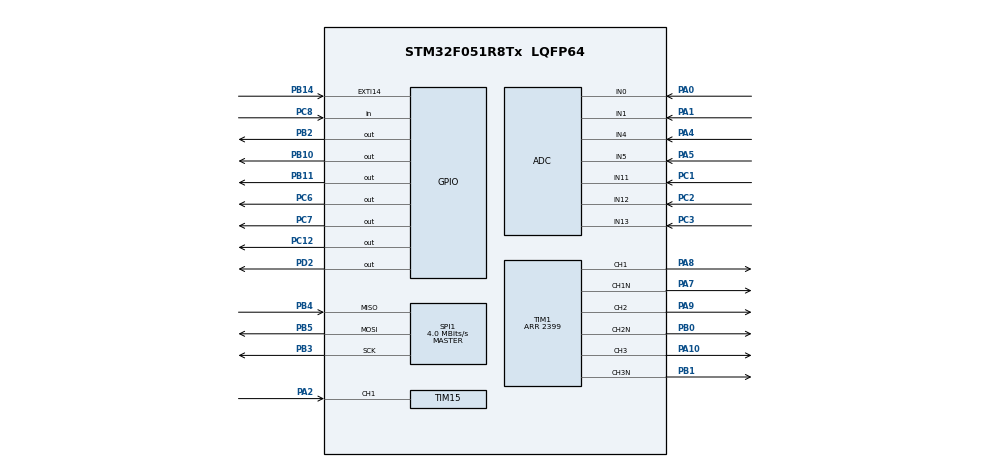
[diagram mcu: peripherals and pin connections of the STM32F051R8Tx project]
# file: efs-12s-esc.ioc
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ADC.ContinuousConvMode=ENABLE
ADC.DMAContinuousRequests=ENABLE
ADC.DiscontinuousConvMode=DISABLE
ADC.ExternalTrigConv=ADC_EXTERNALTRIGCONV_T1_TRGO
ADC.SamplingTime=ADC_SAMPLETIME_1CYCLE_5
ADC.ScanConvMode=ADC_SCAN_DIRECTION_FORWARD
Dma.ADC.0.Direction=DMA_PERIPH_TO_MEMORY
Dma.ADC.0.Instance=DMA1_Channel1
Dma.ADC.0.MemDataAlignment=DMA_MDATAALIGN_HALFWORD
Dma.ADC.0.MemInc=DMA_MINC_ENABLE
Dma.ADC.0.Mode=DMA_CIRCULAR
Dma.ADC.0.PeriphDataAlignment=DMA_PDATAALIGN_HALFWORD
Dma.ADC.0.PeriphInc=DMA_PINC_DISABLE
Dma.ADC.0.Priority=DMA_PRIORITY_LOW
Dma.Request0=ADC
Mcu.Family=STM32F0
Mcu.Name=STM32F051R8Tx
Mcu.Package=LQFP64
NVIC.DMA1_Channel1_IRQn=true\:0\:0\:false\:false\:true\:false\:true\:true
NVIC.TIM15_IRQn=true\:0\:0\:false\:false\:true\:true\:true\:true
PA0.Mode=IN0
PA0.Signal=ADC_IN0
PA1.Mode=IN1
PA1.Signal=ADC_IN1
PA10.Signal=S_TIM1_CH3
PA15.Signal=SPI1_NSS
PA2.Signal=S_TIM15_CH1
PA3.Signal=S_TIM15_CH2
PA4.Mode=IN4
PA4.Signal=ADC_IN4
PA5.Mode=IN5
PA5.Signal=ADC_IN5
PA7.Mode=PWM Generation1 CH1 CH1N
PA7.Signal=TIM1_CH1N
PA8.Signal=S_TIM1_CH1
PA9.Signal=S_TIM1_CH2
PB0.Mode=PWM Generation2 CH2 CH2N
PB0.Signal=TIM1_CH2N
PB1.Mode=PWM Generation3 CH3 CH3N
PB1.Signal=TIM1_CH3N
PB10.Signal=GPIO_Output
PB11.Signal=GPIO_Output
PB14.Signal=GPXTI14
PB2.Signal=GPIO_Output
PB3.Mode=Full_Duplex_Master
PB3.Signal=SPI1_SCK
PB4.Mode=Full_Duplex_Master
PB4.Signal=SPI1_MISO
PB5.Mode=Full_Duplex_Master
PB5.Signal=SPI1_MOSI
PB6.Signal=USART1_TX
PB7.Signal=USART1_RX
PC1.Mode=IN11
PC1.Signal=ADC_IN11
PC12.Signal=GPIO_Output
PC2.Mode=IN12
PC2.Signal=ADC_IN12
PC3.Mode=IN13
PC3.Signal=ADC_IN13
PC6.Signal=GPIO_Output
PC7.Signal=GPIO_Output
PC8.Signal=GPIO_Input
PD2.Signal=GPIO_Output
ProjectManager.HeapSize=0x200
ProjectManager.StackSize=0x400
ProjectManager.TargetToolchain=STM32CubeIDE
SH.S_TIM15_CH1.0=TIM15_CH1,Input_Capture1_from_TI1
SH.S_TIM15_CH2.0=TIM15_CH2
SH.S_TIM1_CH1.0=TIM1_CH1,PWM Generation1 CH1 CH1N
SH.S_TIM1_CH2.0=TIM1_CH2,PWM Generation2 CH2 CH2N
SH.S_TIM1_CH3.0=TIM1_CH3,PWM Generation3 CH3 CH3N
SPI1.CalculateBaudRate=4.0 MBits/s
SPI1.DataSize=SPI_DATASIZE_8BIT
SPI1.Direction=SPI_DIRECTION_2LINES
SPI1.Mode=SPI_MODE_MASTER
SPI1.VirtualType=VM_MASTER
TIM1.Channel-PWM\ Generation1\ CH1\ CH1N=TIM_CHANNEL_1
TIM1.Channel-PWM\ Generation2\ CH2\ CH2N=TIM_CHANNEL_2
TIM1.Channel-PWM\ Generation3\ CH3\ CH3N=TIM_CHANNEL_3
TIM1.CounterMode=TIM_COUNTERMODE_CENTERALIGNED1
TIM1.DeadTime=36
TIM1.Period=2399
TIM15.Channel-Input_Capture1_from_TI1=TIM_CHANNEL_1
TIM15.ICPolarity_CH1=TIM_INPUTCHANNELPOLARITY_BOTHEDGE
VP_TIM15_VS_ClockSourceINT.Mode=Internal
board=custom

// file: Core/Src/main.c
/* USER CODE BEGIN Header */
/**
  ******************************************************************************
  * @file           : main.c
  * @brief          : Main program body
  ******************************************************************************
  * @attention
  *
  * Copyright (c) 2025 STMicroelectronics.
  * All rights reserved.
  *
  * This software is licensed under terms that can be found in the LICENSE file
  * in the root directory of this software component.
  * If no LICENSE file comes with this software, it is provided AS-IS.
  *
  ******************************************************************************
  */
/* USER CODE END Header */
#include "main.h"

/* USER CODE BEGIN Includes */
#include "pwm_driver.h"
#include "drv_spi.h"
#include "safety.h"
#include "dshot.h"
#include "commutation.h"

/* USER CODE END Includes */

ADC_HandleTypeDef hadc;
DMA_HandleTypeDef hdma_adc;

SPI_HandleTypeDef hspi1;

TIM_HandleTypeDef htim1;
TIM_HandleTypeDef htim15;

/* USER CODE BEGIN PV */
volatile uint16_t adc_dma_buf[ADC_NUM_CHANNELS];
static esc_state_t esc_state = ESC_DISARMED;
static uint16_t target_throttle = 0;

/* USER CODE END PV */

void SystemClock_Config(void);
static void MX_GPIO_Init(void);
static void MX_DMA_Init(void);
static void MX_ADC_Init(void);
static void MX_TIM1_Init(void);
static void MX_SPI1_Init(void);
static void MX_TIM15_Init(void);

int main(void)
{

  /* MCU Configuration--------------------------------------------------------*/

  /* Reset of all peripherals, Initializes the Flash interface and the Systick. */
  HAL_Init();

  /* Configure the system clock */
  SystemClock_Config();

  /* Initialize all configured peripherals */
  MX_GPIO_Init();
  MX_DMA_Init();
  MX_ADC_Init();
  MX_TIM1_Init();
  MX_SPI1_Init();
  MX_TIM15_Init();
  /* USER CODE BEGIN 2 */
  pwm_all_off();
  drv_spi_clear_fault();   // gate driver EN low

  dshot_init();

  /* Start DSHOT capture */
  HAL_TIM_IC_Start_IT(&htim15, TIM_CHANNEL_1);

  /* Start PWM timers (outputs still off) */
  HAL_TIM_PWM_Start(&htim1, TIM_CHANNEL_1);
  HAL_TIM_PWM_Start(&htim1, TIM_CHANNEL_2);
  HAL_TIM_PWM_Start(&htim1, TIM_CHANNEL_3);
  HAL_TIMEx_PWMN_Start(&htim1, TIM_CHANNEL_1);
  HAL_TIMEx_PWMN_Start(&htim1, TIM_CHANNEL_2);
  HAL_TIMEx_PWMN_Start(&htim1, TIM_CHANNEL_3);

  /* USER CODE END 2 */

  /* Infinite loop */
  /* USER CODE BEGIN WHILE */

  HAL_ADC_Start_DMA(&hadc, (uint32_t*)adc_dma_buf, ADC_NUM_CHANNELS);
  dshot_frame_t frame;
  while (1)
  {
    /* --- Handle DSHOT input --- */

    if (dshot_get_frame(&frame)) {

        if (!frame.valid) {
            target_throttle = 0;
            esc_state = ESC_DISARMED;
            continue;
        }

        target_throttle = frame.throttle;

        if (target_throttle == 0) {
            esc_state = ESC_DISARMED;
        } else if (esc_state == ESC_DISARMED) {
            esc_state = ESC_ARMING;
        }
    }

    /* --- ESC state machine --- */
    switch (esc_state) {

    case ESC_DISARMED:
        pwm_all_off();
        drv_enable(false);
        commutation_reset();
        break;

    case ESC_ARMING:
        if (drv_configure()) {
            commutation_start();
            esc_state = ESC_RUNNING;
        } else {
            esc_state = ESC_FAULT;
        }
        break;

    case ESC_RUNNING:
        commutation_set_throttle(target_throttle);
        break;

    case ESC_FAULT:
        pwm_all_off();
        drv_enable(false);
        if (drv_spi_read_fault() == 0) {
            esc_state = ESC_DISARMED;
        }
        break;
    }
    /* USER CODE END WHILE */

  }
}

void SystemClock_Config(void)
{
  RCC_OscInitTypeDef RCC_OscInitStruct = {0};
  RCC_ClkInitTypeDef RCC_ClkInitStruct = {0};

  /** Initializes the RCC Oscillators according to the specified parameters
  * in the RCC_OscInitTypeDef structure.
  */
  RCC_OscInitStruct.OscillatorType = RCC_OSCILLATORTYPE_HSI|RCC_OSCILLATORTYPE_HSI14;
  RCC_OscInitStruct.HSIState = RCC_HSI_ON;
  RCC_OscInitStruct.HSI14State = RCC_HSI14_ON;
  RCC_OscInitStruct.HSICalibrationValue = RCC_HSICALIBRATION_DEFAULT;
  RCC_OscInitStruct.HSI14CalibrationValue = 16;
  RCC_OscInitStruct.PLL.PLLState = RCC_PLL_NONE;
  if (HAL_RCC_OscConfig(&RCC_OscInitStruct) != HAL_OK)
  {
    Error_Handler();
  }

  /** Initializes the CPU, AHB and APB buses clocks
  */
  RCC_ClkInitStruct.ClockType = RCC_CLOCKTYPE_HCLK|RCC_CLOCKTYPE_SYSCLK
                              |RCC_CLOCKTYPE_PCLK1;
  RCC_ClkInitStruct.SYSCLKSource = RCC_SYSCLKSOURCE_HSI;
  RCC_ClkInitStruct.AHBCLKDivider = RCC_SYSCLK_DIV1;
  RCC_ClkInitStruct.APB1CLKDivider = RCC_HCLK_DIV1;

  if (HAL_RCC_ClockConfig(&RCC_ClkInitStruct, FLASH_LATENCY_0) != HAL_OK)
  {
    Error_Handler();
  }
}

static void MX_ADC_Init(void)
{

  ADC_ChannelConfTypeDef sConfig = {0};

  /** Configure the global features of the ADC (Clock, Resolution, Data Alignment and number of conversion)
  */
  hadc.Instance = ADC1;
  hadc.Init.ClockPrescaler = ADC_CLOCK_ASYNC_DIV1;
  hadc.Init.Resolution = ADC_RESOLUTION_12B;
  hadc.Init.DataAlign = ADC_DATAALIGN_RIGHT;
  hadc.Init.ScanConvMode = ADC_SCAN_DIRECTION_FORWARD;
  hadc.Init.EOCSelection = ADC_EOC_SINGLE_CONV;
  hadc.Init.LowPowerAutoWait = DISABLE;
  hadc.Init.LowPowerAutoPowerOff = DISABLE;
  hadc.Init.ContinuousConvMode = ENABLE;
  hadc.Init.DiscontinuousConvMode = DISABLE;
  hadc.Init.ExternalTrigConv = ADC_EXTERNALTRIGCONV_T1_TRGO;
  hadc.Init.ExternalTrigConvEdge = ADC_EXTERNALTRIGCONVEDGE_RISING;
  hadc.Init.DMAContinuousRequests = ENABLE;
  hadc.Init.Overrun = ADC_OVR_DATA_PRESERVED;
  if (HAL_ADC_Init(&hadc) != HAL_OK)
  {
    Error_Handler();
  }

  /** Configure for the selected ADC regular channel to be converted.
  */
  sConfig.Channel = ADC_CHANNEL_0;
  sConfig.Rank = ADC_RANK_CHANNEL_NUMBER;
  sConfig.SamplingTime = ADC_SAMPLETIME_1CYCLE_5;
  if (HAL_ADC_ConfigChannel(&hadc, &sConfig) != HAL_OK)
  {
    Error_Handler();
  }

  /** Configure for the selected ADC regular channel to be converted.
  */
  sConfig.Channel = ADC_CHANNEL_1;
  if (HAL_ADC_ConfigChannel(&hadc, &sConfig) != HAL_OK)
  {
    Error_Handler();
  }

  /** Configure for the selected ADC regular channel to be converted.
  */
  sConfig.Channel = ADC_CHANNEL_4;
  if (HAL_ADC_ConfigChannel(&hadc, &sConfig) != HAL_OK)
  {
    Error_Handler();
  }

  /** Configure for the selected ADC regular channel to be converted.
  */
  sConfig.Channel = ADC_CHANNEL_5;
  if (HAL_ADC_ConfigChannel(&hadc, &sConfig) != HAL_OK)
  {
    Error_Handler();
  }

  /** Configure for the selected ADC regular channel to be converted.
  */
  sConfig.Channel = ADC_CHANNEL_11;
  if (HAL_ADC_ConfigChannel(&hadc, &sConfig) != HAL_OK)
  {
    Error_Handler();
  }

  /** Configure for the selected ADC regular channel to be converted.
  */
  sConfig.Channel = ADC_CHANNEL_12;
  if (HAL_ADC_ConfigChannel(&hadc, &sConfig) != HAL_OK)
  {
    Error_Handler();
  }

  /** Configure for the selected ADC regular channel to be converted.
  */
  sConfig.Channel = ADC_CHANNEL_13;
  if (HAL_ADC_ConfigChannel(&hadc, &sConfig) != HAL_OK)
  {
    Error_Handler();
  }

}

static void MX_SPI1_Init(void)
{

  /* SPI1 parameter configuration*/
  hspi1.Instance = SPI1;
  hspi1.Init.Mode = SPI_MODE_MASTER;
  hspi1.Init.Direction = SPI_DIRECTION_2LINES;
  hspi1.Init.DataSize = SPI_DATASIZE_8BIT;
  hspi1.Init.CLKPolarity = SPI_POLARITY_LOW;
  hspi1.Init.CLKPhase = SPI_PHASE_1EDGE;
  hspi1.Init.NSS = SPI_NSS_SOFT;
  hspi1.Init.BaudRatePrescaler = SPI_BAUDRATEPRESCALER_2;
  hspi1.Init.FirstBit = SPI_FIRSTBIT_MSB;
  hspi1.Init.TIMode = SPI_TIMODE_DISABLE;
  hspi1.Init.CRCCalculation = SPI_CRCCALCULATION_DISABLE;
  hspi1.Init.CRCPolynomial = 7;
  hspi1.Init.CRCLength = SPI_CRC_LENGTH_DATASIZE;
  hspi1.Init.NSSPMode = SPI_NSS_PULSE_ENABLE;
  if (HAL_SPI_Init(&hspi1) != HAL_OK)
  {
    Error_Handler();
  }

}

static void MX_TIM1_Init(void)
{

  TIM_MasterConfigTypeDef sMasterConfig = {0};
  TIM_OC_InitTypeDef sConfigOC = {0};
  TIM_BreakDeadTimeConfigTypeDef sBreakDeadTimeConfig = {0};

  htim1.Instance = TIM1;
  htim1.Init.Prescaler = 0;
  htim1.Init.CounterMode = TIM_COUNTERMODE_CENTERALIGNED1;
  htim1.Init.Period = 2399;
  htim1.Init.ClockDivision = TIM_CLOCKDIVISION_DIV1;
  htim1.Init.RepetitionCounter = 0;
  htim1.Init.AutoReloadPreload = TIM_AUTORELOAD_PRELOAD_DISABLE;
  if (HAL_TIM_PWM_Init(&htim1) != HAL_OK)
  {
    Error_Handler();
  }
  sMasterConfig.MasterOutputTrigger = TIM_TRGO_RESET;
  sMasterConfig.MasterSlaveMode = TIM_MASTERSLAVEMODE_DISABLE;
  if (HAL_TIMEx_MasterConfigSynchronization(&htim1, &sMasterConfig) != HAL_OK)
  {
    Error_Handler();
  }
  sConfigOC.OCMode = TIM_OCMODE_PWM1;
  sConfigOC.Pulse = 0;
  sConfigOC.OCPolarity = TIM_OCPOLARITY_HIGH;
  sConfigOC.OCNPolarity = TIM_OCNPOLARITY_HIGH;
  sConfigOC.OCFastMode = TIM_OCFAST_DISABLE;
  sConfigOC.OCIdleState = TIM_OCIDLESTATE_RESET;
  sConfigOC.OCNIdleState = TIM_OCNIDLESTATE_RESET;
  if (HAL_TIM_PWM_ConfigChannel(&htim1, &sConfigOC, TIM_CHANNEL_1) != HAL_OK)
  {
    Error_Handler();
  }
  if (HAL_TIM_PWM_ConfigChannel(&htim1, &sConfigOC, TIM_CHANNEL_2) != HAL_OK)
  {
    Error_Handler();
  }
  if (HAL_TIM_PWM_ConfigChannel(&htim1, &sConfigOC, TIM_CHANNEL_3) != HAL_OK)
  {
    Error_Handler();
  }
  sBreakDeadTimeConfig.OffStateRunMode = TIM_OSSR_DISABLE;
  sBreakDeadTimeConfig.OffStateIDLEMode = TIM_OSSI_DISABLE;
  sBreakDeadTimeConfig.LockLevel = TIM_LOCKLEVEL_OFF;
  sBreakDeadTimeConfig.DeadTime = 36;
  sBreakDeadTimeConfig.BreakState = TIM_BREAK_DISABLE;
  sBreakDeadTimeConfig.BreakPolarity = TIM_BREAKPOLARITY_HIGH;
  sBreakDeadTimeConfig.AutomaticOutput = TIM_AUTOMATICOUTPUT_DISABLE;
  if (HAL_TIMEx_ConfigBreakDeadTime(&htim1, &sBreakDeadTimeConfig) != HAL_OK)
  {
    Error_Handler();
  }
  HAL_TIM_MspPostInit(&htim1);

}

static void MX_TIM15_Init(void)
{

  TIM_ClockConfigTypeDef sClockSourceConfig = {0};
  TIM_MasterConfigTypeDef sMasterConfig = {0};
  TIM_IC_InitTypeDef sConfigIC = {0};

  htim15.Instance = TIM15;
  htim15.Init.Prescaler = 0;
  htim15.Init.CounterMode = TIM_COUNTERMODE_UP;
  htim15.Init.Period = 65535;
  htim15.Init.ClockDivision = TIM_CLOCKDIVISION_DIV1;
  htim15.Init.RepetitionCounter = 0;
  htim15.Init.AutoReloadPreload = TIM_AUTORELOAD_PRELOAD_DISABLE;
  if (HAL_TIM_Base_Init(&htim15) != HAL_OK)
  {
    Error_Handler();
  }
  sClockSourceConfig.ClockSource = TIM_CLOCKSOURCE_INTERNAL;
  if (HAL_TIM_ConfigClockSource(&htim15, &sClockSourceConfig) != HAL_OK)
  {
    Error_Handler();
  }
  if (HAL_TIM_IC_Init(&htim15) != HAL_OK)
  {
    Error_Handler();
  }
  sMasterConfig.MasterOutputTrigger = TIM_TRGO_RESET;
  sMasterConfig.MasterSlaveMode = TIM_MASTERSLAVEMODE_DISABLE;
  if (HAL_TIMEx_MasterConfigSynchronization(&htim15, &sMasterConfig) != HAL_OK)
  {
    Error_Handler();
  }
  sConfigIC.ICPolarity = TIM_INPUTCHANNELPOLARITY_BOTHEDGE;
  sConfigIC.ICSelection = TIM_ICSELECTION_DIRECTTI;
  sConfigIC.ICPrescaler = TIM_ICPSC_DIV1;
  sConfigIC.ICFilter = 0;
  if (HAL_TIM_IC_ConfigChannel(&htim15, &sConfigIC, TIM_CHANNEL_1) != HAL_OK)
  {
    Error_Handler();
  }

}

static void MX_DMA_Init(void)
{

  /* DMA controller clock enable */
  __HAL_RCC_DMA1_CLK_ENABLE();

  /* DMA interrupt init */
  /* DMA1_Channel1_IRQn interrupt configuration */
  HAL_NVIC_SetPriority(DMA1_Channel1_IRQn, 0, 0);
  HAL_NVIC_EnableIRQ(DMA1_Channel1_IRQn);

}

static void MX_GPIO_Init(void)
{
  GPIO_InitTypeDef GPIO_InitStruct = {0};

  /* GPIO Ports Clock Enable */
  __HAL_RCC_GPIOC_CLK_ENABLE();
  __HAL_RCC_GPIOA_CLK_ENABLE();
  __HAL_RCC_GPIOB_CLK_ENABLE();
  __HAL_RCC_GPIOD_CLK_ENABLE();

  /*Configure GPIO pin Output Level */
  HAL_GPIO_WritePin(GPIOB, GPIO_PIN_2|GPIO_PIN_10|GPIO_PIN_11, GPIO_PIN_RESET);

  /*Configure GPIO pin Output Level */
  HAL_GPIO_WritePin(GPIOC, GPIO_PIN_6|GPIO_PIN_7|GPIO_PIN_12, GPIO_PIN_RESET);

  /*Configure GPIO pin Output Level */
  HAL_GPIO_WritePin(GPIOD, GPIO_PIN_2, GPIO_PIN_RESET);

  /*Configure GPIO pins : PB2 PB10 PB11 */
  GPIO_InitStruct.Pin = GPIO_PIN_2|GPIO_PIN_10|GPIO_PIN_11;
  GPIO_InitStruct.Mode = GPIO_MODE_OUTPUT_PP;
  GPIO_InitStruct.Pull = GPIO_NOPULL;
  GPIO_InitStruct.Speed = GPIO_SPEED_FREQ_LOW;
  HAL_GPIO_Init(GPIOB, &GPIO_InitStruct);

  /*Configure GPIO pin : PB14 */
  GPIO_InitStruct.Pin = GPIO_PIN_14;
  GPIO_InitStruct.Mode = GPIO_MODE_IT_RISING;
  GPIO_InitStruct.Pull = GPIO_NOPULL;
  HAL_GPIO_Init(GPIOB, &GPIO_InitStruct);

  /*Configure GPIO pins : PC6 PC7 PC12 */
  GPIO_InitStruct.Pin = GPIO_PIN_6|GPIO_PIN_7|GPIO_PIN_12;
  GPIO_InitStruct.Mode = GPIO_MODE_OUTPUT_PP;
  GPIO_InitStruct.Pull = GPIO_NOPULL;
  GPIO_InitStruct.Speed = GPIO_SPEED_FREQ_LOW;
  HAL_GPIO_Init(GPIOC, &GPIO_InitStruct);

  /*Configure GPIO pin : PC8 */
  GPIO_InitStruct.Pin = GPIO_PIN_8;
  GPIO_InitStruct.Mode = GPIO_MODE_INPUT;
  GPIO_InitStruct.Pull = GPIO_NOPULL;
  HAL_GPIO_Init(GPIOC, &GPIO_InitStruct);

  /*Configure GPIO pin : PD2 */
  GPIO_InitStruct.Pin = GPIO_PIN_2;
  GPIO_InitStruct.Mode = GPIO_MODE_OUTPUT_PP;
  GPIO_InitStruct.Pull = GPIO_NOPULL;
  GPIO_InitStruct.Speed = GPIO_SPEED_FREQ_LOW;
  HAL_GPIO_Init(GPIOD, &GPIO_InitStruct);

  /*Configure GPIO pins : PB6 PB7 */
  GPIO_InitStruct.Pin = GPIO_PIN_6|GPIO_PIN_7;
  GPIO_InitStruct.Mode = GPIO_MODE_AF_PP;
  GPIO_InitStruct.Pull = GPIO_NOPULL;
  GPIO_InitStruct.Speed = GPIO_SPEED_FREQ_HIGH;
  GPIO_InitStruct.Alternate = GPIO_AF0_USART1;
  HAL_GPIO_Init(GPIOB, &GPIO_InitStruct);

}

/* USER CODE BEGIN 4 */
void HAL_ADC_ConvCpltCallback(ADC_HandleTypeDef *hadc)
{
    if (hadc->Instance != ADC1)
        return;

    const adc_sample_t *samples =
        (const adc_sample_t *)adc_dma_buf;

    phase_t floating = commutation_floating_phase();

    uint32_t now = __HAL_TIM_GET_COUNTER(&htim1);

    bemf_update(floating, samples, now);

    bemf_event_t evt;
    if(bemf_get_zc(&evt)){
      commutation_on_zc(evt.timestamp);
    }
}

void HAL_TIM_IC_CaptureCallback(TIM_HandleTypeDef *htim)
{
    if (htim->Instance != TIM15)
        return;

    if (htim->Channel == HAL_TIM_ACTIVE_CHANNEL_1) {
        uint32_t cap = HAL_TIM_ReadCapturedValue(htim, TIM_CHANNEL_1);
        dshot_ic_edge(cap);
    }
}

/* USER CODE END 4 */

void Error_Handler(void)
{
  __disable_irq();
  while (1)
  {
  }
}
